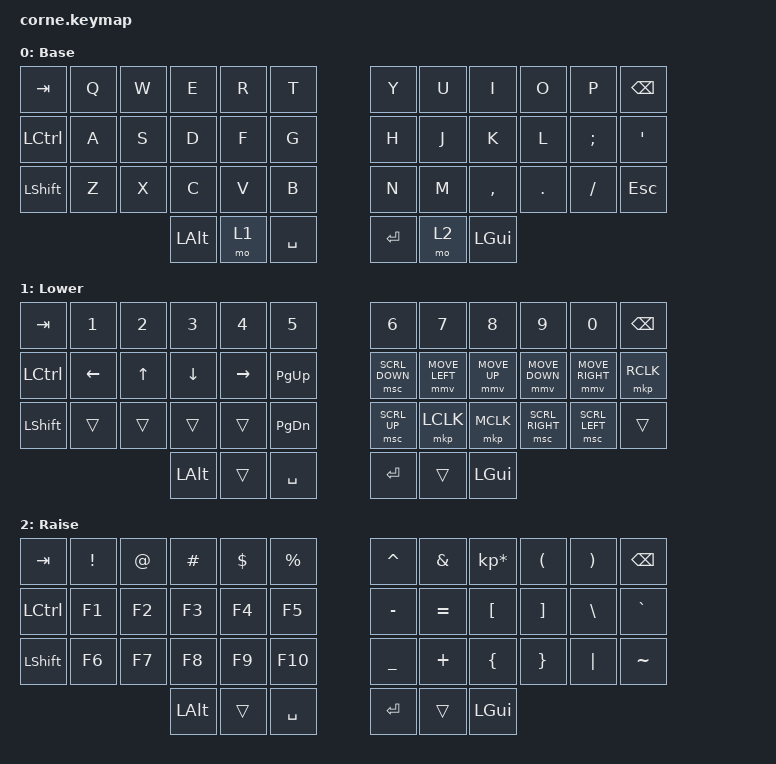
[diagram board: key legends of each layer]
/*
 * Copyright (c) 2020 The ZMK Contributors
 *
 * SPDX-License-Identifier: MIT
 */

#define ZMK_POINTING_DEFAULT_MOVE_VAL 1500  // default: 600
#define ZMK_POINTING_DEFAULT_SCRL_VAL 15    // default: 10

#include <behaviors.dtsi>
#include <dt-bindings/zmk/bt.h>
#include <dt-bindings/zmk/keys.h>
#include <dt-bindings/zmk/pointing.h>

/ {
    combos {
        compatible = "zmk,combos";

        bootloader {
            bindings = <&bootloader>;
            key-positions = <39 40 41 35 11 10 22 34 23>;
        };

        BTS0 {
            bindings = <&bt BT_SEL 0>;
            key-positions = <11 23 35 1 12 24 39>;
        };

        BTS1 {
            bindings = <&bt BT_SEL 1>;
            key-positions = <11 23 35 12 39 2 24>;
        };

        BTS2 {
            bindings = <&bt BT_SEL 2>;
            key-positions = <11 23 35 12 24 39 3>;
        };

        BTS3 {
            bindings = <&bt BT_SEL 3>;
            key-positions = <11 23 35 12 24 39 4>;
        };

        BTS4 {
            bindings = <&bt BT_SEL 4>;
            key-positions = <11 23 35 12 24 39 5>;
        };

        BTCLR {
            bindings = <&bt BT_CLR>;
            key-positions = <12 24 11 23 35 39 38 0>;
        };

        bootloader2 {
            bindings = <&bootloader>;
            key-positions = <0 1 12 13 24 25 38 36 37>;
        };
    };

    keymap {
        compatible = "zmk,keymap";

        default_layer {
            // -----------------------------------------------------------------------------------------
            // |  TAB |  Q  |  W  |  E  |  R  |  T  |   |  Y  |  U   |  I  |  O  |  P  | BKSP |
            // | CTRL |  A  |  S  |  D  |  F  |  G  |   |  H  |  J   |  K  |  L  |  ;  |  '   |
            // | SHFT |  Z  |  X  |  C  |  V  |  B  |   |  N  |  M   |  ,  |  .  |  /  | ESC  |
            //                    | GUI | LWR | SPC |   | ENT | RSE  | ALT |

            display-name = "Base";
            bindings = <
&kp TAB    &kp Q  &kp W  &kp E     &kp R  &kp T        &kp Y    &kp U  &kp I      &kp O    &kp P     &kp BSPC
&kp LCTRL  &kp A  &kp S  &kp D     &kp F  &kp G        &kp H    &kp J  &kp K      &kp L    &kp SEMI  &kp SQT
&kp LSHFT  &kp Z  &kp X  &kp C     &kp V  &kp B        &kp N    &kp M  &kp COMMA  &kp DOT  &kp FSLH  &kp ESC
                         &kp LALT  &mo 1  &kp SPACE    &kp RET  &mo 2  &kp LGUI
            >;
        };

        lower_layer {
            // -----------------------------------------------------------------------------------------
            // |  TAB |  1  |  2  |  3  |  4  |  5  |   |  6  |  7  |  8  |  9  |  0  | BKSP |
            // | BTCLR| BT1 | BT2 | BT3 | BT4 | BT5 |   | LFT | DWN |  UP | RGT |     |      |
            // | SHFT |     |     |     |     |     |   |     |     |     |     |     |      |
            //                    | GUI |     | SPC |   | ENT |     | ALT |

            display-name = "Lower";
            bindings = <
&kp TAB    &kp N1    &kp N2  &kp N3    &kp N4     &kp N5           &kp N6          &kp N7          &kp N8        &kp N9           &kp N0           &kp BSPC
&kp LCTRL  &kp LEFT  &kp UP  &kp DOWN  &kp RIGHT  &kp PAGE_UP      &msc SCRL_DOWN  &mmv MOVE_LEFT  &mmv MOVE_UP  &mmv MOVE_DOWN   &mmv MOVE_RIGHT  &mkp RCLK
&kp LSHFT  &trans    &trans  &trans    &trans     &kp PAGE_DOWN    &msc SCRL_UP    &mkp LCLK       &mkp MCLK     &msc SCRL_RIGHT  &msc SCRL_LEFT   &trans
                             &kp LALT  &trans     &kp SPACE        &kp RET         &trans          &kp LGUI
            >;
        };

        raise_layer {
            // -----------------------------------------------------------------------------------------
            // |  TAB |  !  |  @  |  #  |  $  |  %  |   |  ^  |  &  |  *  |  (  |  )  | BKSP |
            // | CTRL |     |     |     |     |     |   |  -  |  =  |  [  |  ]  |  \  |  `   |
            // | SHFT |     |     |     |     |     |   |  _  |  +  |  {  |  }  | "|" |  ~   |
            //                    | GUI |     | SPC |   | ENT |     | ALT |

            display-name = "Raise";
            bindings = <
&kp TAB    &kp EXCL  &kp AT  &kp HASH  &kp DLLR  &kp PRCNT    &kp CARET  &kp AMPS   &kp KP_MULTIPLY  &kp LPAR  &kp RPAR  &kp BSPC
&kp LCTRL  &kp F1    &kp F2  &kp F3    &kp F4    &kp F5       &kp MINUS  &kp EQUAL  &kp LBKT         &kp RBKT  &kp BSLH  &kp GRAVE
&kp LSHFT  &kp F6    &kp F7  &kp F8    &kp F9    &kp F10      &kp UNDER  &kp PLUS   &kp LBRC         &kp RBRC  &kp PIPE  &kp TILDE
                             &kp LALT  &trans    &kp SPACE    &kp RET    &trans     &kp LGUI
            >;
        };
    };
};
